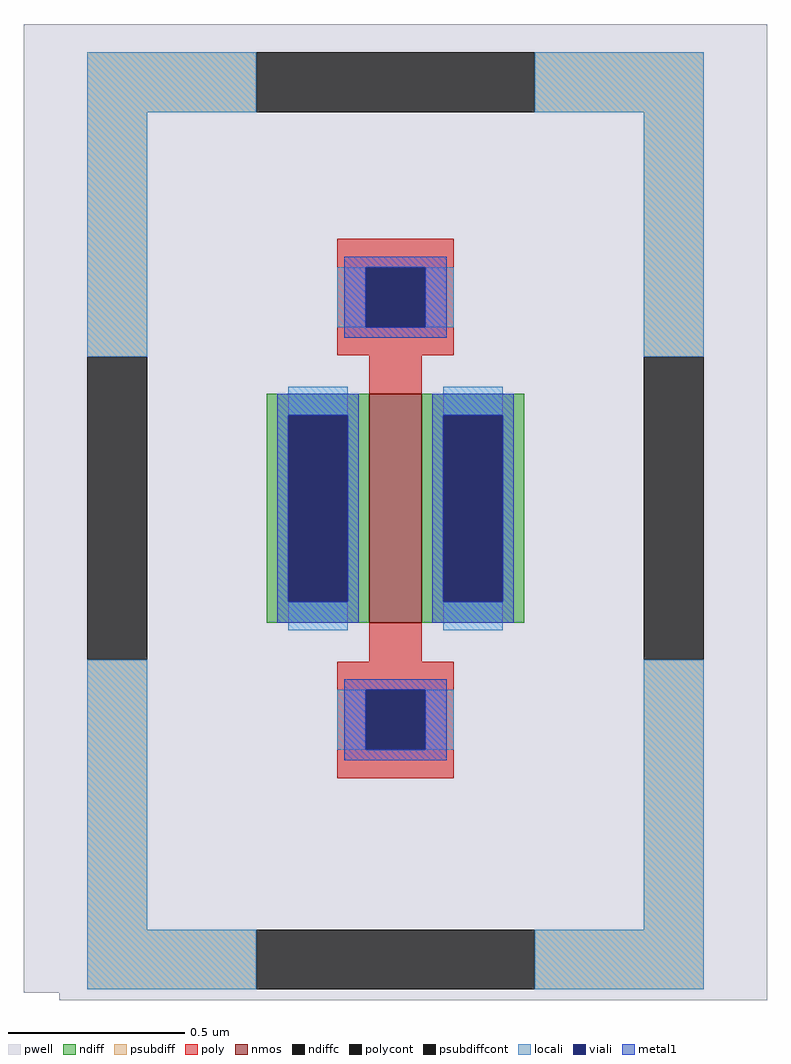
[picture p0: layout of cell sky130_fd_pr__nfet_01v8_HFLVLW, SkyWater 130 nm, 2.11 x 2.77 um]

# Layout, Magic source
magic
tech sky130A
magscale 1 2
<< pwell >>
rect -211 -275 211 275
rect -191 -279 211 -275
<< nmos >>
rect -15 -65 15 65
<< ndiff >>
rect -73 53 -15 65
rect -73 -53 -61 53
rect -27 -53 -15 53
rect -73 -65 -15 -53
rect 15 53 73 65
rect 15 -53 27 53
rect 61 -53 73 53
rect 15 -65 73 -53
<< ndiffc >>
rect -61 -53 -27 53
rect 27 -53 61 53
<< psubdiff >>
rect -175 225 -79 259
rect 79 225 175 259
rect -175 86 -141 225
rect 141 86 175 225
rect -175 -239 -141 -86
rect 141 -239 175 -86
rect -175 -273 -79 -239
rect 79 -273 175 -239
<< psubdiffcont >>
rect -79 225 79 259
rect -175 -86 -141 86
rect 141 -86 175 86
rect -79 -273 79 -239
<< poly >>
rect -33 137 33 153
rect -33 103 -17 137
rect 17 103 33 137
rect -33 87 33 103
rect -15 65 15 87
rect -15 -87 15 -65
rect -33 -103 33 -87
rect -33 -137 -17 -103
rect 17 -137 33 -103
rect -33 -153 33 -137
<< polycont >>
rect -17 103 17 137
rect -17 -137 17 -103
<< locali >>
rect -175 225 -79 259
rect 79 225 175 259
rect -175 86 -141 225
rect -33 103 -17 137
rect 17 103 33 137
rect 141 86 175 225
rect -61 53 -27 69
rect -61 -69 -27 -53
rect 27 53 61 69
rect 27 -69 61 -53
rect -175 -239 -141 -86
rect -33 -137 -17 -103
rect 17 -137 33 -103
rect 141 -239 175 -86
rect -175 -273 -79 -239
rect 79 -273 175 -239
<< viali >>
rect -17 103 17 137
rect -61 -53 -27 53
rect 27 -53 61 53
rect -17 -137 17 -103
<< metal1 >>
rect -29 137 29 143
rect -29 103 -17 137
rect 17 103 29 137
rect -29 97 29 103
rect -67 53 -21 65
rect -67 -53 -61 53
rect -27 -53 -21 53
rect -67 -65 -21 -53
rect 21 53 67 65
rect 21 -53 27 53
rect 61 -53 67 53
rect 21 -65 67 -53
rect -29 -103 29 -97
rect -29 -137 -17 -103
rect 17 -137 29 -103
rect -29 -143 29 -137
<< properties >>
string gencell sky130_fd_pr__nfet_01v8
string FIXED_BBOX -158 -222 158 222
string parameters w 0.650 l 0.150 m 1 nf 1 diffcov 100 polycov 100 guard 1 glc 1 grc 1 gtc 1 gbc 1 tbcov 100 rlcov 60 topc 1 botc 1 poverlap 0 doverlap 1 lmin 0.15 wmin 0.42 compatible {sky130_fd_pr__nfet_01v8 sky130_fd_pr__nfet_01v8_lvt  sky130_fd_bs_flash__special_sonosfet_star  sky130_fd_pr__nfet_g5v0d10v5 sky130_fd_pr__nfet_05v0_nvt  sky130_fd_pr__nfet_03v3_nvt} full_metal 1 viasrc 100 viadrn 100 viagate 50 viagb 0 viagr 0 viagl 0 viagt 0
string library sky130
<< end >>
